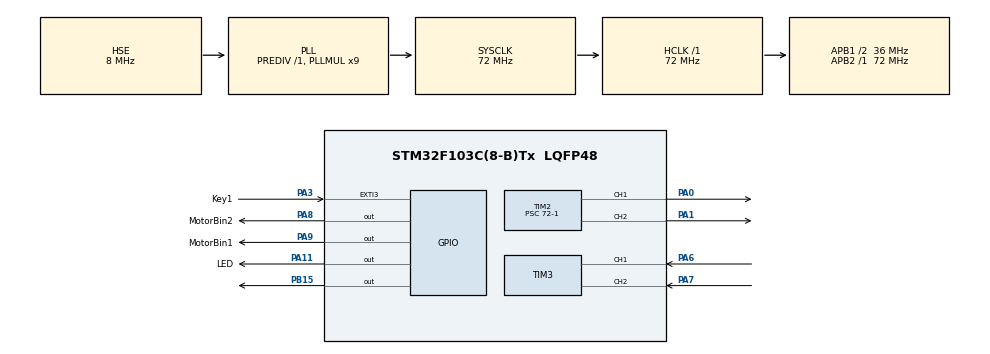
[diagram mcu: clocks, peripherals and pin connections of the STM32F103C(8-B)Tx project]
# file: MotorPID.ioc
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Mcu.Family=STM32F1
Mcu.Name=STM32F103C(8-B)Tx
Mcu.Package=LQFP48
NVIC.EXTI3_IRQn=true\:15\:0\:true\:false\:true\:true\:true\:true
NVIC.PriorityGroup=NVIC_PRIORITYGROUP_4
NVIC.TIM4_IRQn=true\:0\:0\:false\:false\:true\:true\:true\:true
PA0-WKUP.Signal=S_TIM2_CH1_ETR
PA1.Signal=S_TIM2_CH2
PA11.GPIO_Label=LED
PA11.Signal=GPIO_Output
PA13.Mode=Serial_Wire
PA13.Signal=SYS_JTMS-SWDIO
PA14.Mode=Serial_Wire
PA14.Signal=SYS_JTCK-SWCLK
PA3.GPIO_Label=Key1
PA3.GPIO_ModeDefaultEXTI=GPIO_MODE_IT_FALLING
PA3.GPIO_PuPd=GPIO_PULLUP
PA3.Signal=GPXTI3
PA6.Signal=S_TIM3_CH1
PA7.Signal=S_TIM3_CH2
PA8.GPIO_Label=MotorBin2
PA8.PinState=GPIO_PIN_SET
PA8.Signal=GPIO_Output
PA9.GPIO_Label=MotorBin1
PA9.Signal=GPIO_Output
PB15.Signal=GPIO_Output
PD0-OSC_IN.Mode=HSE-External-Oscillator
PD0-OSC_IN.Signal=RCC_OSC_IN
PD1-OSC_OUT.Mode=HSE-External-Oscillator
PD1-OSC_OUT.Signal=RCC_OSC_OUT
ProjectManager.HeapSize=0x200
ProjectManager.StackSize=0x400
ProjectManager.TargetToolchain=STM32CubeIDE
RCC.AHBFreq_Value=72000000
RCC.APB1CLKDivider=RCC_HCLK_DIV2
RCC.APB1Freq_Value=36000000
RCC.APB1TimFreq_Value=72000000
RCC.APB2Freq_Value=72000000
RCC.APB2TimFreq_Value=72000000
RCC.HCLKFreq_Value=72000000
RCC.PLLMUL=RCC_PLL_MUL9
RCC.PLLSourceVirtual=RCC_PLLSOURCE_HSE
RCC.SYSCLKFreq_VALUE=72000000
RCC.SYSCLKSource=RCC_SYSCLKSOURCE_PLLCLK
RCC.USBFreq_Value=72000000
SH.S_TIM2_CH1_ETR.0=TIM2_CH1,PWM Generation1 CH1
SH.S_TIM2_CH2.0=TIM2_CH2,PWM Generation2 CH2
SH.S_TIM3_CH1.0=TIM3_CH1,Encoder_Interface
SH.S_TIM3_CH2.0=TIM3_CH2,Encoder_Interface
TIM2.Channel-PWM\ Generation1\ CH1=TIM_CHANNEL_1
TIM2.Channel-PWM\ Generation2\ CH2=TIM_CHANNEL_2
TIM2.Period=100-1
TIM2.Prescaler=72-1
TIM3.EncoderMode=TIM_ENCODERMODE_TI12
TIM3.IC1Filter=10
TIM3.IC1Polarity=TIM_ICPOLARITY_FALLING
TIM3.IC2Filter=10
TIM4.AutoReloadPreload=TIM_AUTORELOAD_PRELOAD_ENABLE
TIM4.Period=10000-1
TIM4.Prescaler=72-1
VP_TIM2_VS_ClockSourceINT.Mode=Internal
VP_TIM4_VS_ClockSourceINT.Mode=Internal
board=custom

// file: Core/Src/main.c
/* USER CODE BEGIN Header */
/**
  ******************************************************************************
  * @file           : main.c
  * @brief          : Main program body
  ******************************************************************************
  * @attention
  *
  * Copyright (c) 2025 STMicroelectronics.
  * All rights reserved.
  *
  * This software is licensed under terms that can be found in the LICENSE file
  * in the root directory of this software component.
  * If no LICENSE file comes with this software, it is provided AS-IS.
  *
  ******************************************************************************
  */
/* USER CODE END Header */
#include "main.h"
#include "tim.h"
#include "gpio.h"

/* USER CODE BEGIN Includes */
#include "Motor.h"
#include "Encoder.h"
#include "PID.h"
/* USER CODE END Includes */

/* USER CODE BEGIN PD */
#define GearRatio 30
#define EncoderPPR 13
/* USER CODE END PD */

/* USER CODE BEGIN PV */

volatile int32_t encoder_speed = 0;  // 全局、volatile、有意义的名字
volatile float motor_rps;
float output;
float aim_rps = 1.0;
PID_Increment_Struct mypid;
/* USER CODE END PV */

void SystemClock_Config(void);

/* USER CODE BEGIN 0 */
__weak void HAL_TIM_PeriodElapsedCallback(TIM_HandleTypeDef *htim){
    if(htim == &htim4){
        static uint16_t LastCount = 0;
        uint16_t CurrentCount = EncoderRead();
        int16_t delta = (int16_t)(CurrentCount - LastCount);
        LastCount = CurrentCount;

        encoder_speed = delta;
        motor_rps = (float)encoder_speed * 100.0f / (GearRatio * EncoderPPR * 4);
        output = PID_Increment(&mypid, motor_rps, aim_rps);
        MotorForward((uint8_t)(output));

    }
}

/* USER CODE END 0 */

int main(void)
{

  /* MCU Configuration--------------------------------------------------------*/

  /* Reset of all peripherals, Initializes the Flash interface and the Systick. */
  HAL_Init();

  /* Configure the system clock */
  SystemClock_Config();

  /* Initialize all configured peripherals */
  MX_GPIO_Init();
  MX_TIM2_Init();
  MX_TIM3_Init();
  MX_TIM4_Init();
  /* USER CODE BEGIN 2 */
  Motor_Init();
  EncoderInit();
  PID_Init(&mypid, 30.0f, 3.0f, 5.0f);

  /* USER CODE END 2 */

  /* Infinite loop */
  while (1)
  {

  }
}

void SystemClock_Config(void)
{
  RCC_OscInitTypeDef RCC_OscInitStruct = {0};
  RCC_ClkInitTypeDef RCC_ClkInitStruct = {0};

  /** Initializes the RCC Oscillators according to the specified parameters
  * in the RCC_OscInitTypeDef structure.
  */
  RCC_OscInitStruct.OscillatorType = RCC_OSCILLATORTYPE_HSE;
  RCC_OscInitStruct.HSEState = RCC_HSE_ON;
  RCC_OscInitStruct.HSEPredivValue = RCC_HSE_PREDIV_DIV1;
  RCC_OscInitStruct.HSIState = RCC_HSI_ON;
  RCC_OscInitStruct.PLL.PLLState = RCC_PLL_ON;
  RCC_OscInitStruct.PLL.PLLSource = RCC_PLLSOURCE_HSE;
  RCC_OscInitStruct.PLL.PLLMUL = RCC_PLL_MUL9;
  if (HAL_RCC_OscConfig(&RCC_OscInitStruct) != HAL_OK)
  {
    Error_Handler();
  }

  /** Initializes the CPU, AHB and APB buses clocks
  */
  RCC_ClkInitStruct.ClockType = RCC_CLOCKTYPE_HCLK|RCC_CLOCKTYPE_SYSCLK
                              |RCC_CLOCKTYPE_PCLK1|RCC_CLOCKTYPE_PCLK2;
  RCC_ClkInitStruct.SYSCLKSource = RCC_SYSCLKSOURCE_PLLCLK;
  RCC_ClkInitStruct.AHBCLKDivider = RCC_SYSCLK_DIV1;
  RCC_ClkInitStruct.APB1CLKDivider = RCC_HCLK_DIV2;
  RCC_ClkInitStruct.APB2CLKDivider = RCC_HCLK_DIV1;

  if (HAL_RCC_ClockConfig(&RCC_ClkInitStruct, FLASH_LATENCY_2) != HAL_OK)
  {
    Error_Handler();
  }
}

void Error_Handler(void)
{
  __disable_irq();
  while (1)
  {
  }
}
